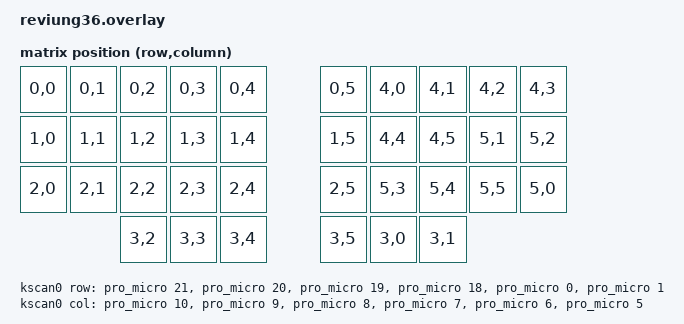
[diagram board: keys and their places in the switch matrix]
#include <dt-bindings/zmk/matrix_transform.h>

/ {
    chosen {
        zmk,kscan = &kscan0;
		zmk,matrix_transform = &default_transform;
    };

    default_transform: keymap_transform_0 {
		compatible = "zmk,matrix-transform";
		columns = <6>;
		rows = <6>;
    // | SW6  | SW5  | SW4  | SW3  | SW2  | SW1  | SW2  | SW3  | SW4  | SW5  | SW6  |
    // | SW12 | SW11 | SW10 | SW9  | SW8  | SW7  | SW8  | SW9  | SW10 | SW11 | SW12 |
    // | SW18 | SW17 | SW16 | SW15 | SW14 | SW13 | SW14 | SW15 | SW16 | SW17 | SW18 |
    //                      | SW29 | SW28 | SW27 | SW27 | SW28 | SW29 |
		map = <
    RC(0,0) RC(0,1) RC(0,2) RC(0,3) RC(0,4) RC(0,5) RC(4,0) RC(4,1) RC(4,2) RC(4,3) 
    RC(1,0) RC(1,1) RC(1,2) RC(1,3) RC(1,4) RC(1,5) RC(4,4) RC(4,5) RC(5,1) RC(5,2)
    RC(2,0) RC(2,1) RC(2,2) RC(2,3) RC(2,4) RC(2,5) RC(5,3) RC(5,4) RC(5,5) RC(5,0)
                    RC(3,2) RC(3,3) RC(3,4) RC(3,5) RC(3,0) RC(3,1) 
		>;
	};

  kscan0: kscan {
      compatible = "zmk,kscan-gpio-matrix";
      label = "KSCAN";

      diode-direction = "col2row";
      row-gpios
          = <&pro_micro 21 (GPIO_ACTIVE_HIGH | GPIO_PULL_DOWN)>
          , <&pro_micro 20 (GPIO_ACTIVE_HIGH | GPIO_PULL_DOWN)>
          , <&pro_micro 19 (GPIO_ACTIVE_HIGH | GPIO_PULL_DOWN)>
          , <&pro_micro 18 (GPIO_ACTIVE_HIGH | GPIO_PULL_DOWN)>
          , <&pro_micro 0  (GPIO_ACTIVE_HIGH | GPIO_PULL_DOWN)>
          , <&pro_micro 1  (GPIO_ACTIVE_HIGH | GPIO_PULL_DOWN)>
          ;
      col-gpios
          = <&pro_micro 10 GPIO_ACTIVE_HIGH>
          , <&pro_micro 9 GPIO_ACTIVE_HIGH>
          , <&pro_micro 8 GPIO_ACTIVE_HIGH>
          , <&pro_micro 7 GPIO_ACTIVE_HIGH>
          , <&pro_micro 6 GPIO_ACTIVE_HIGH>
          , <&pro_micro 5 GPIO_ACTIVE_HIGH>
          ;


    };
};


&spi0  {
    status = "okay";
    cs-gpios = <&pro_micro 3 GPIO_ACTIVE_LOW>;

    glidepoint: glidepoint@0 {
        compatible = "cirque,pinnacle";
        reg = <0>;
        spi-max-frequency = <1000000>;
        status = "okay";
        dr-gpios = <&pro_micro 4 (GPIO_ACTIVE_HIGH)>;

        sensitivity = "4x";
        sleep;
        no-taps;
    };
};

/ {
    glidepoint_listener {
        compatible = "zmk,input-listener";
        device = <&glidepoint>;
    };
};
